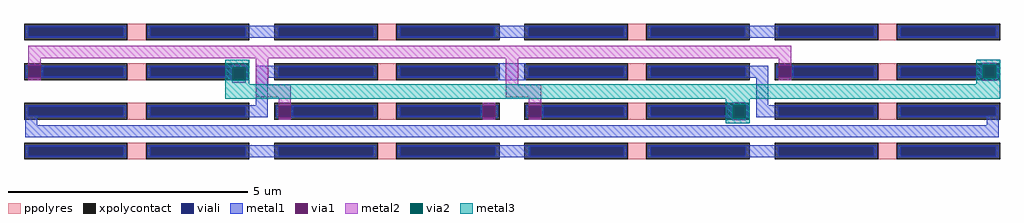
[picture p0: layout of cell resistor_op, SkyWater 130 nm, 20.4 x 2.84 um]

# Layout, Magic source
magic
tech sky130A
magscale 1 2
<< metal1 >>
rect 128 3758 258 3808
rect 1164 3758 1304 3808
rect 2214 3758 2354 3808
rect -792 3591 -782 3643
rect -730 3591 -720 3643
rect 62 3584 72 3636
rect 124 3584 134 3636
rect 169 3592 252 3642
rect 169 3476 219 3592
rect 1182 3582 1298 3652
rect 2228 3592 2311 3642
rect 136 3426 219 3476
rect -794 3393 -744 3426
rect 254 3425 264 3477
rect 316 3425 326 3477
rect 1108 3425 1118 3477
rect 1170 3425 1180 3477
rect 1300 3425 1310 3477
rect 1362 3425 1372 3477
rect 2154 3425 2164 3477
rect 2216 3425 2226 3477
rect 2261 3476 2311 3592
rect 2346 3591 2356 3643
rect 2408 3591 2418 3643
rect 3200 3591 3210 3643
rect 3262 3591 3272 3643
rect 2261 3426 2344 3476
rect 3224 3393 3274 3432
rect -794 3343 3274 3393
rect 124 3260 254 3310
rect 1176 3260 1316 3310
rect 2216 3260 2356 3310
<< via1 >>
rect -782 3591 -730 3643
rect 72 3584 124 3636
rect 264 3425 316 3477
rect 1118 3425 1170 3477
rect 1310 3425 1362 3477
rect 2164 3425 2216 3477
rect 2356 3591 2408 3643
rect 3210 3591 3262 3643
<< metal2 >>
rect -782 3674 2408 3726
rect -782 3643 -730 3674
rect -782 3581 -730 3591
rect 70 3636 126 3646
rect 70 3570 126 3580
rect 168 3562 220 3674
rect 1214 3562 1266 3674
rect 2356 3643 2408 3674
rect 2356 3581 2408 3591
rect 3208 3645 3264 3655
rect 3208 3579 3264 3589
rect 168 3510 316 3562
rect 1214 3510 1362 3562
rect 264 3477 316 3510
rect 264 3415 316 3425
rect 1118 3477 1170 3487
rect 1118 3415 1170 3425
rect 1310 3477 1362 3510
rect 1310 3415 1362 3425
rect 2162 3479 2218 3489
rect 2162 3413 2218 3423
<< via2 >>
rect 70 3584 72 3636
rect 72 3584 124 3636
rect 124 3584 126 3636
rect 70 3580 126 3584
rect 3208 3643 3264 3645
rect 3208 3591 3210 3643
rect 3210 3591 3262 3643
rect 3262 3591 3264 3643
rect 3208 3589 3264 3591
rect 2162 3477 2218 3479
rect 2162 3425 2164 3477
rect 2164 3425 2216 3477
rect 2216 3425 2218 3477
rect 2162 3423 2218 3425
<< metal3 >>
rect 42 3636 142 3667
rect 42 3580 70 3636
rect 126 3580 142 3636
rect 42 3564 142 3580
rect 3180 3645 3280 3667
rect 3180 3589 3208 3645
rect 3264 3589 3280 3645
rect 3180 3564 3280 3589
rect 42 3504 3280 3564
rect 2134 3479 2234 3504
rect 2134 3423 2162 3479
rect 2218 3423 2234 3479
rect 2134 3401 2234 3423
use sky130_fd_pr__res_high_po_0p35_VSLXGP  sky130_fd_pr__res_high_po_0p35_VSLXGP_0
transform 0 1 1240 -1 0 3534
box -284 -2040 284 2040
<< end >>

# cell sky130_fd_pr__res_high_po_0p35_VSLXGP: kit device sky130_fd_pr__res_high_po_0p35, w 0.350 l 0.55 m 4 nx 4 wmin 0.350 lmin 0.50 rho 319.8 val 1.615k dummy 0 dw 0.0 term 194.82 sterm 0.0 caplen 0 guard 0 glc 1 grc 1 gtc 1 gbc 1 compatible {sky130_fd_pr__res_high_po_0p35 sky130_fd_pr__res_high_po_0p69 sky130_fd_pr__res_high_po_1p41 sky130_fd_pr__res_high_po_2p85 sky130_fd_pr__res_high_po_5p73} snake 0 full_metal 1 wmax 0.350 vias 1 n_guard 0 hv_guard 0 viagb 0 viagt 0 viagl 0 viagr 0
